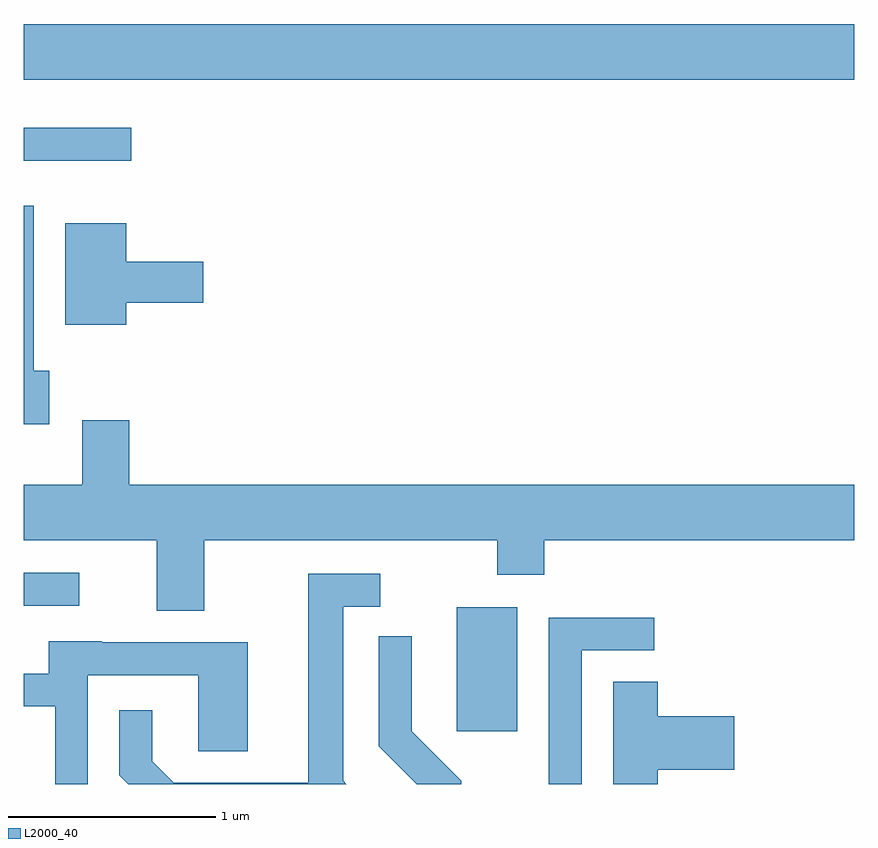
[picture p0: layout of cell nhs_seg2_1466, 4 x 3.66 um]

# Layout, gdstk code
import gdstk
lib = gdstk.Library(unit=1e-6, precision=1e-09)
def R(c, l, rs):  # rectangles x0, y0, x1, y1
    for r in rs: c.add(gdstk.rectangle(r[:2], r[2:], *l))
def P(c, l, *ps):  # polygons
    for p in ps: c.add(gdstk.Polygon(p, *l))
L2000_40 = (2000, 40)

nhs_seg2_1466 = lib.new_cell('nhs_seg2_1466')
R(nhs_seg2_1466, L2000_40, [(229.696,1054.056,229.989,1054.654), (227.611,1054.661,227.878,1054.819), (227.611,1056.806,228.128,1056.964), (227.611,1057.196,231.611,1057.464)])
P(nhs_seg2_1466, L2000_40, [(227.734,1055.794),(227.659,1055.794),(227.659,1056.589),(227.611,1056.589),(227.611,1055.536),(227.734,1055.536)],
  [(228.104,1056.121),(228.474,1056.121),(228.474,1056.319),(228.104,1056.319),(228.104,1056.504),(227.811,1056.504),(227.811,1056.016),(228.104,1056.016)],
  [(228.479,1054.976),(229.891,1054.976),(229.891,1054.811),(230.119,1054.811),(230.119,1054.976),(231.611,1054.976),(231.611,1055.244),(228.119,1055.244),(228.119,1055.554),(227.891,1055.554),(227.891,1055.244),(227.611,1055.244),(227.611,1054.976),(228.251,1054.976),(228.251,1054.636),(228.479,1054.636)],
  [(229.149,1053.817),(229.149,1054.656),(229.328,1054.656),(229.328,1054.814),(228.981,1054.814),(228.981,1053.809),(228.332,1053.809),(228.229,1053.912),(228.229,1054.158),(228.071,1054.158),(228.071,1053.844),(228.113,1053.802),(229.164,1053.802)],
  [(230.299,1054.446),(230.648,1054.446),(230.648,1054.604),(230.141,1054.604),(230.141,1053.802),(230.299,1053.802)],
  [(229.719,1053.817),(229.479,1054.057),(229.479,1054.513),(229.321,1054.513),(229.321,1053.984),(229.503,1053.802),(229.719,1053.802)],
  [(227.919,1054.326),(228.451,1054.326),(228.451,1053.961),(228.689,1053.961),(228.689,1054.484),(227.985,1054.484),(227.985,1054.489),(227.731,1054.489),(227.731,1054.334),(227.611,1054.334),(227.611,1054.176),(227.761,1054.176),(227.761,1053.802),(227.919,1053.802)],
  [(230.664,1053.871),(231.034,1053.871),(231.034,1054.129),(230.664,1054.129),(230.664,1054.294),(230.451,1054.294),(230.451,1053.802),(230.664,1053.802)])

lib.write_gds('nhs_seg2_1466.gds')
